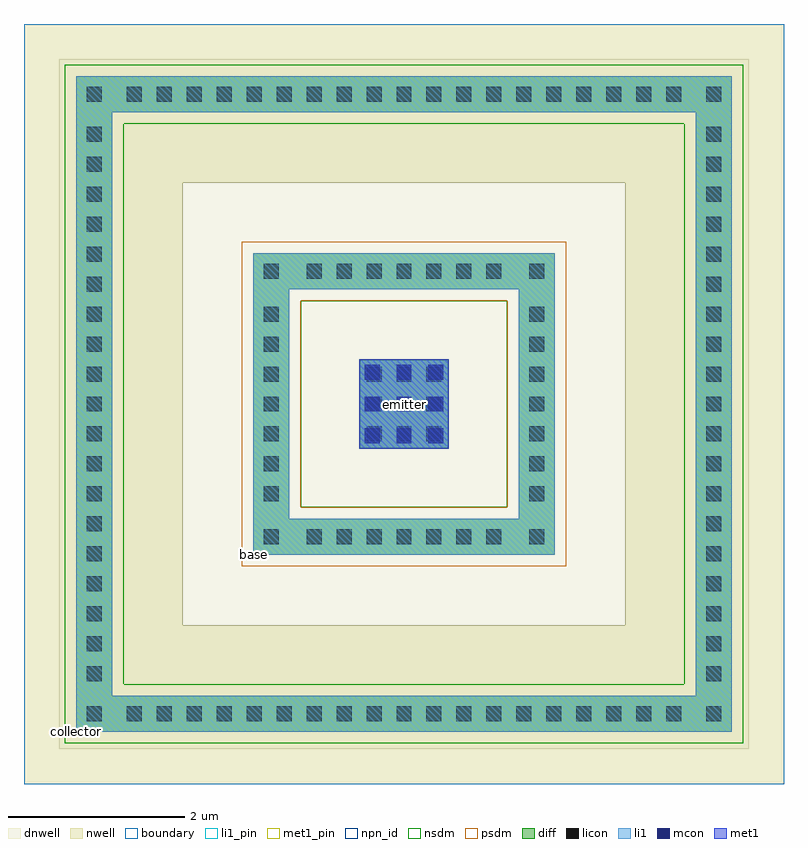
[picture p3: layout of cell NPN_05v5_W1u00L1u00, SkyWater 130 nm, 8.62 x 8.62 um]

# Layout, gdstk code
import gdstk
lib = gdstk.Library(unit=1e-6, precision=1e-09)
def R(c, l, rs):  # rectangles x0, y0, x1, y1
    for r in rs: c.add(gdstk.rectangle(r[:2], r[2:], *l))
def A(c, l, x, y, w, h, nx, ny, dx, dy):  # array of equal rectangles
    R(c, l, [(x+i*dx, y+j*dy, x+i*dx+w, y+j*dy+h) for i in range(nx) for j in range(ny)])
def P(c, l, *ps):  # polygons
    for p in ps: c.add(gdstk.Polygon(p, *l))
dnwell = (64, 18)
nwell = (64, 20)
diff = (65, 20)
licon = (66, 44)
li1_pin = (67, 16)
li1 = (67, 20)
mcon = (67, 44)
met1_pin = (68, 16)
met1 = (68, 20)
npn_id = (82, 20)
nsdm = (93, 44)
psdm = (94, 20)
boundary = (235, 4)

npn_05v5_w1u00l1u00 = lib.new_cell('NPN_05v5_W1u00L1u00')
R(npn_05v5_w1u00l1u00, dnwell, [(-3.91,-3.91,3.91,3.91)])
P(npn_05v5_w1u00l1u00, nwell, [(-4.31,-4.31),(-4.31,4.31),(4.31,4.31),(4.31,-4.31),(-2.51,-4.31),(-2.51,-2.51),(2.51,-2.51),(2.51,2.51),(-2.51,2.51),(-2.51,-4.31)])
R(npn_05v5_w1u00l1u00, diff, [(-0.5,-0.5,0.5,0.5)])
P(npn_05v5_w1u00l1u00, diff, [(-1.71,-1.71),(-1.71,1.71),(1.71,1.71),(1.71,-1.71),(-1.3,-1.71),(-1.3,-1.3),(1.3,-1.3),(1.3,1.3),(-1.3,1.3),(-1.3,-1.71)],
  [(-3.72,-3.72),(-3.72,3.72),(3.72,3.72),(3.72,-3.72),(-3.31,-3.72),(-3.31,-3.31),(3.31,-3.31),(3.31,3.31),(-3.31,3.31),(-3.31,-3.72)])
A(npn_05v5_w1u00l1u00, licon, -3.145, -3.6, 0.17, 0.17, 19, 2, 0.34, 7.03)
A(npn_05v5_w1u00l1u00, licon, -3.6, -3.145, 0.17, 0.17, 1, 19, 0, 0.34)
A(npn_05v5_w1u00l1u00, licon, 3.43, -3.145, 0.17, 0.17, 1, 19, 0, 0.34)
A(npn_05v5_w1u00l1u00, licon, -1.105, -1.59, 0.17, 0.17, 7, 2, 0.34, 3.01)
A(npn_05v5_w1u00l1u00, licon, -1.59, -1.105, 0.17, 0.17, 1, 7, 0, 0.34)
A(npn_05v5_w1u00l1u00, licon, 1.42, -1.105, 0.17, 0.17, 1, 7, 0, 0.34)
A(npn_05v5_w1u00l1u00, licon, -0.425, -0.425, 0.17, 0.17, 3, 3, 0.34, 0.34)
R(npn_05v5_w1u00l1u00, licon, [(-3.6,-3.6,-3.43,-3.43), (3.43,-3.6,3.6,-3.43), (-1.59,-1.59,-1.42,-1.42), (1.42,-1.59,1.59,-1.42), (-1.59,1.42,-1.42,1.59), (1.42,1.42,1.59,1.59), (-3.6,3.43,-3.43,3.6), (3.43,3.43,3.6,3.6)])
P(npn_05v5_w1u00l1u00, li1_pin, [(-1.71,-1.71),(-1.71,1.71),(1.71,1.71),(1.71,-1.71),(-1.3,-1.71),(-1.3,-1.3),(1.3,-1.3),(1.3,1.3),(-1.3,1.3),(-1.3,-1.71)],
  [(-3.72,-3.72),(-3.72,3.72),(3.72,3.72),(3.72,-3.72),(-3.31,-3.72),(-3.31,-3.31),(3.31,-3.31),(3.31,3.31),(-3.31,3.31),(-3.31,-3.72)])
R(npn_05v5_w1u00l1u00, li1, [(-0.505,-0.505,0.505,0.505)])
P(npn_05v5_w1u00l1u00, li1, [(-1.71,-1.71),(-1.71,1.71),(1.71,1.71),(1.71,-1.71),(-1.3,-1.71),(-1.3,-1.3),(1.3,-1.3),(1.3,1.3),(-1.3,1.3),(-1.3,-1.71)],
  [(-3.72,-3.72),(-3.72,3.72),(3.72,3.72),(3.72,-3.72),(-3.31,-3.72),(-3.31,-3.31),(3.31,-3.31),(3.31,3.31),(-3.31,3.31),(-3.31,-3.72)])
A(npn_05v5_w1u00l1u00, mcon, -0.445, -0.445, 0.17, 0.17, 3, 3, 0.36, 0.36)
R(npn_05v5_w1u00l1u00, met1_pin, [(-0.505,-0.505,0.505,0.505)])
R(npn_05v5_w1u00l1u00, met1, [(-0.505,-0.505,0.505,0.505)])
R(npn_05v5_w1u00l1u00, npn_id, [(-3.72,-3.72,3.72,3.72)])
R(npn_05v5_w1u00l1u00, nsdm, [(-1.17,-1.17,1.17,1.17)])
P(npn_05v5_w1u00l1u00, nsdm, [(-3.85,-3.85),(-3.85,3.18),(-3.18,3.18),(-3.18,-3.18),(3.18,-3.18),(3.18,3.18),(-3.85,3.18),(-3.85,3.85),(3.85,3.85),(3.85,-3.85)])
P(npn_05v5_w1u00l1u00, psdm, [(-1.84,-1.84),(-1.84,1.84),(1.84,1.84),(1.84,-1.84),(-1.17,-1.84),(-1.17,-1.17),(1.17,-1.17),(1.17,1.17),(-1.17,1.17),(-1.17,-1.84)])
R(npn_05v5_w1u00l1u00, boundary, [(-4.31,-4.31,4.31,4.31)])
npn_05v5_w1u00l1u00.add(gdstk.Label('emitter', (0,0), layer=68, texttype=16))
npn_05v5_w1u00l1u00.add(gdstk.Label('base', (-1.71,-1.71), layer=67, texttype=16))
npn_05v5_w1u00l1u00.add(gdstk.Label('collector', (-3.72,-3.72), layer=67, texttype=16))

lib.write_gds('NPN_05v5_W1u00L1u00.gds')
